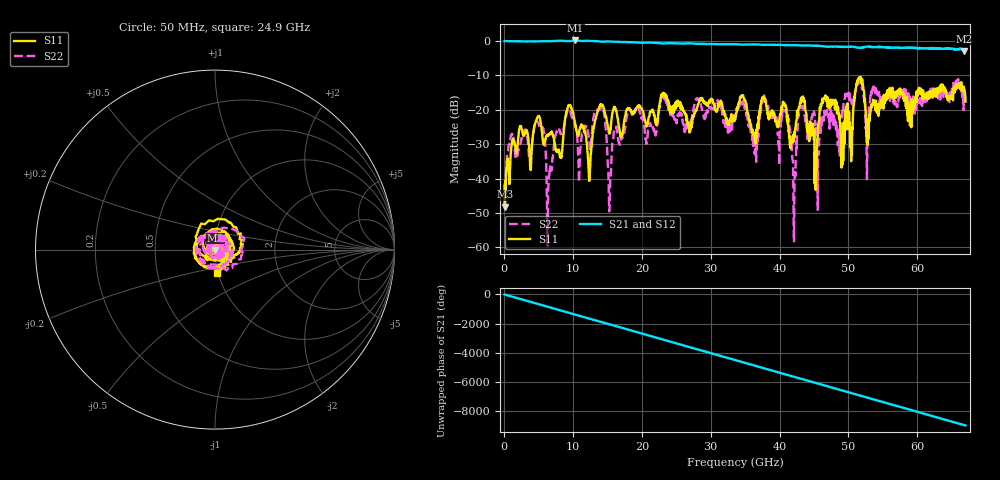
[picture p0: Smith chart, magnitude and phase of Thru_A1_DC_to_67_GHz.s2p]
#  HZ  S  MA  R  50.00
! Rohde & Schwarz ZVA67 4Ports - Version 4.11 - 1305.7002k04 SN: 101051
! Date: 2023-05-31 14:21:15
! Measurements: S11 S21 S12 S22
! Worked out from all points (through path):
!   1340 points, 50 MHz to 67 GHz, reference 50 ohm
!   highest |S21| = 0.16 dB at 10.3 GHz (marker M1); lowest = -2.9 dB at 66.8 GHz (marker M2)
!   group delay of S21, straight-line fit = 373 ps
!   lowest |S11| = -48.2 dB at 100 MHz (marker M3), VSWR 1.01, Z = 50.3 - j0.276 ohm
!   |S11| at or under -10 dB: start of sweep to end of sweep
!   |S22| runs from -59.6 to -10.7 dB; largest |S21 - S12| = 0.3
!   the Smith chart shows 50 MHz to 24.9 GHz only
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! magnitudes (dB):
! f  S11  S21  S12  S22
! 50 MHz  -42.3  0.0  0.0  -41.4
! 100 MHz  -48.2  0.0  0.0  -48.6
! 4.75 GHz  -22.5  -0.1  -0.1  -23.2
! 6.45 GHz  -27.1  -0.1  -0.1  -41.5
! 7.65 GHz  -32.2  0.0  0.0  -26.3
! 10.3 GHz  -23.9  0.2  0.2  -24.3
! 11.25 GHz  -24.6  0.0  0.1  -27.4
! 12.4 GHz  -39.6  0.0  0.0  -29.7
! 14.2 GHz  -18.5  -0.2  -0.2  -19.5
! 15.3 GHz  -26.8  -0.1  -0.1  -48.4
! 18.1 GHz  -19.5  -0.3  -0.3  -20.0
! 22.4 GHz  -20.7  -0.6  -0.6  -21.4
! 33.55 GHz  -22.9  -0.9  -0.9  -21.4
! 36.4 GHz  -28.7  -1.0  -1.1  -32.9
! 37.65 GHz  -16.3  -1.1  -1.2  -16.3
! 40.85 GHz  -18.5  -1.2  -1.3  -20.6
! 42.1 GHz  -27.3  -1.2  -1.2  -58.5
! 43 GHz  -17.7  -1.3  -1.3  -19.7
! 44.7 GHz  -25.6  -1.3  -1.4  -22.0
! 55.85 GHz  -15.1  -1.9  -1.9  -16.1
! 66.8 GHz  -14.3  -2.9  -2.8  -18.1
! 67 GHz  -17.6  -2.7  -2.6  -17.6
